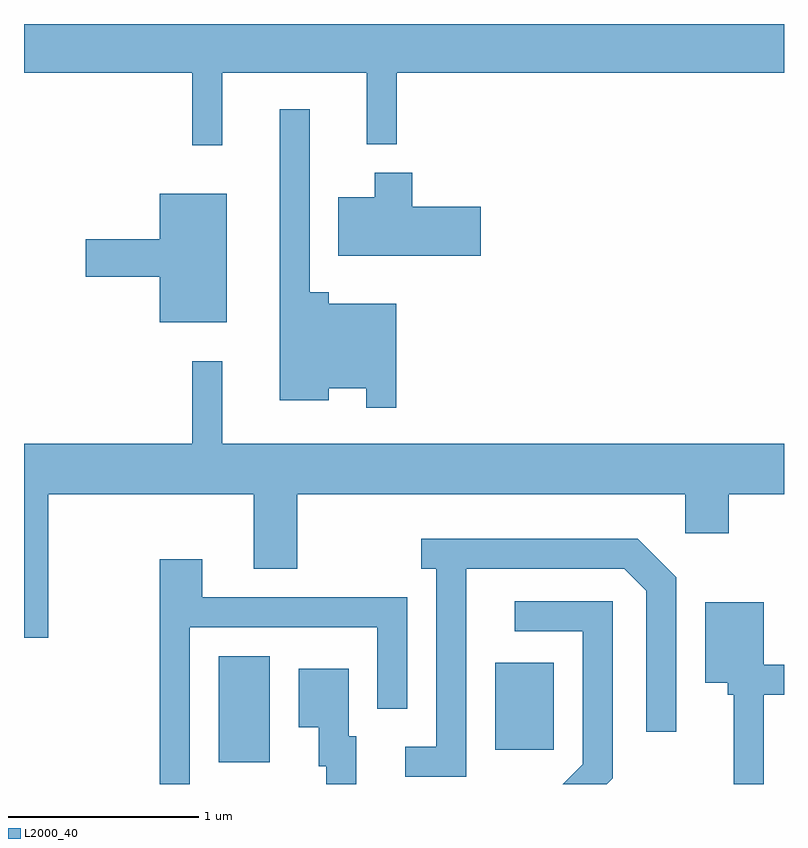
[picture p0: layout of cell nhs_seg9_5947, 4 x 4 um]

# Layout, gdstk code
import gdstk
lib = gdstk.Library(unit=1e-6, precision=1e-09)
def R(c, l, rs):  # rectangles x0, y0, x1, y1
    for r in rs: c.add(gdstk.rectangle(r[:2], r[2:], *l))
def P(c, l, *ps):  # polygons
    for p in ps: c.add(gdstk.Polygon(p, *l))
L2000_40 = (2000, 40)

nhs_seg9_5947 = lib.new_cell('nhs_seg9_5947')
R(nhs_seg9_5947, L2000_40, [(360.636,2072.546,360.904,2073.104), (362.091,2072.611,362.399,2073.069)])
P(nhs_seg9_5947, L2000_40, [(360.654,2076.176),(361.416,2076.176),(361.416,2075.798),(361.574,2075.798),(361.574,2076.176),(363.611,2076.176),(363.611,2076.432),(359.611,2076.432),(359.611,2076.176),(360.496,2076.176),(360.496,2075.793),(360.654,2075.793)],
  [(361.569,2074.959),(361.214,2074.959),(361.214,2075.019),(361.114,2075.019),(361.114,2075.983),(360.956,2075.983),(360.956,2074.451),(361.214,2074.451),(361.214,2074.516),(361.411,2074.516),(361.411,2074.413),(361.569,2074.413)],
  [(362.014,2075.469),(361.654,2075.469),(361.654,2075.649),(361.456,2075.649),(361.456,2075.519),(361.266,2075.519),(361.266,2075.211),(362.014,2075.211)],
  [(360.679,2075.539),(360.326,2075.539),(360.326,2075.299),(359.936,2075.299),(359.936,2075.101),(360.326,2075.101),(360.326,2074.861),(360.679,2074.861)],
  [(359.739,2073.956),(360.821,2073.956),(360.821,2073.566),(361.049,2073.566),(361.049,2073.956),(363.091,2073.956),(363.091,2073.751),(363.319,2073.751),(363.319,2073.956),(363.611,2073.956),(363.611,2074.224),(360.654,2074.224),(360.654,2074.658),(360.496,2074.658),(360.496,2074.224),(359.611,2074.224),(359.611,2073.201),(359.739,2073.201)],
  [(361.939,2073.566),(362.769,2073.566),(362.886,2073.449),(362.886,2072.708),(363.044,2072.708),(363.044,2073.521),(362.842,2073.724),(361.703,2073.724),(361.703,2073.566),(361.781,2073.566),(361.781,2072.629),(361.618,2072.629),(361.618,2072.471),(361.939,2072.471)],
  [(360.484,2073.256),(361.471,2073.256),(361.471,2072.827),(361.629,2072.827),(361.629,2073.414),(360.549,2073.414),(360.549,2073.614),(360.326,2073.614),(360.326,2072.432),(360.484,2072.432)],
  [(362.709,2072.463),(362.709,2073.394),(362.193,2073.394),(362.193,2073.236),(362.551,2073.236),(362.551,2072.537),(362.446,2072.432),(362.678,2072.432)],
  [(363.504,2072.901),(363.611,2072.901),(363.611,2073.059),(363.504,2073.059),(363.504,2073.389),(363.196,2073.389),(363.196,2072.966),(363.316,2072.966),(363.316,2072.901),(363.346,2072.901),(363.346,2072.432),(363.504,2072.432)],
  [(361.359,2072.684),(361.319,2072.684),(361.319,2073.039),(361.056,2073.039),(361.056,2072.731),(361.161,2072.731),(361.161,2072.526),(361.201,2072.526),(361.201,2072.432),(361.359,2072.432)])

lib.write_gds('nhs_seg9_5947.gds')
